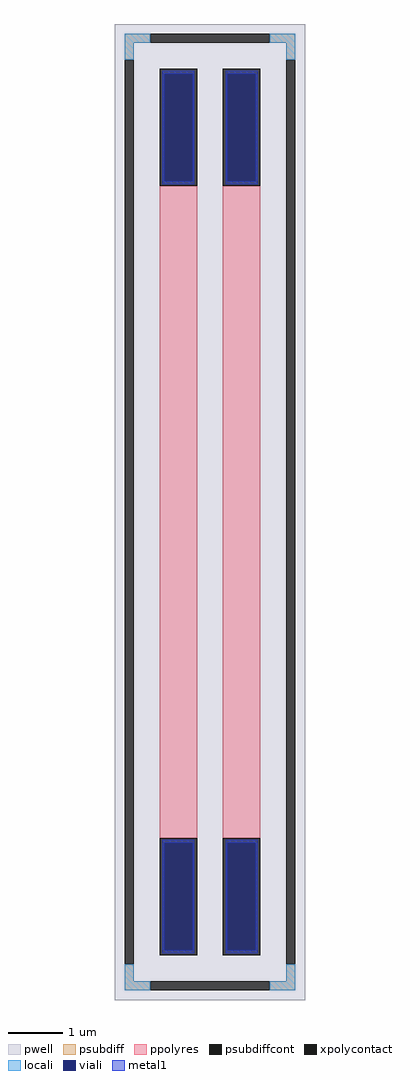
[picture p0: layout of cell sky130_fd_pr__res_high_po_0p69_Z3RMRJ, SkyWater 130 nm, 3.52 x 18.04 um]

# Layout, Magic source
magic
tech sky130A
magscale 1 2
<< pwell >>
rect -352 -1804 352 1804
<< psubdiff >>
rect -316 1734 -220 1768
rect 220 1734 316 1768
rect -316 1672 -282 1734
rect 282 1672 316 1734
rect -316 -1734 -282 -1672
rect 282 -1734 316 -1672
rect -316 -1768 -220 -1734
rect 220 -1768 316 -1734
<< psubdiffcont >>
rect -220 1734 220 1768
rect -316 -1672 -282 1672
rect 282 -1672 316 1672
rect -220 -1768 220 -1734
<< xpolycontact >>
rect -186 1206 -48 1638
rect -186 -1638 -48 -1206
rect 48 1206 186 1638
rect 48 -1638 186 -1206
<< ppolyres >>
rect -186 -1206 -48 1206
rect 48 -1206 186 1206
<< locali >>
rect -316 1734 -220 1768
rect 220 1734 316 1768
rect -316 1672 -282 1734
rect 282 1672 316 1734
rect -316 -1734 -282 -1672
rect 282 -1734 316 -1672
rect -316 -1768 -220 -1734
rect 220 -1768 316 -1734
<< viali >>
rect -170 1223 -64 1620
rect 64 1223 170 1620
rect -170 -1620 -64 -1223
rect 64 -1620 170 -1223
<< metal1 >>
rect -176 1620 -58 1632
rect -176 1223 -170 1620
rect -64 1223 -58 1620
rect -176 1211 -58 1223
rect 58 1620 176 1632
rect 58 1223 64 1620
rect 170 1223 176 1620
rect 58 1211 176 1223
rect -176 -1223 -58 -1211
rect -176 -1620 -170 -1223
rect -64 -1620 -58 -1223
rect -176 -1632 -58 -1620
rect 58 -1223 176 -1211
rect 58 -1620 64 -1223
rect 170 -1620 176 -1223
rect 58 -1632 176 -1620
<< properties >>
string FIXED_BBOX -299 -1751 299 1751
string gencell sky130_fd_pr__res_high_po_0p69
string library sky130
string parameters w 0.690 l 12.22 m 1 nx 2 wmin 0.690 lmin 0.50 rho 319.8 val 6.228k dummy 0 dw 0.0 term 194.82 sterm 0.0 caplen 0 guard 1 glc 1 grc 1 gtc 1 gbc 1 compatible {sky130_fd_pr__res_high_po_0p35  sky130_fd_pr__res_high_po_0p69 sky130_fd_pr__res_high_po_1p41  sky130_fd_pr__res_high_po_2p85 sky130_fd_pr__res_high_po_5p73} snake 0 full_metal 1 wmax 0.690 n_guard 0 hv_guard 0 vias 1 viagb 0 viagt 0 viagl 0 viagr 0
<< end >>
